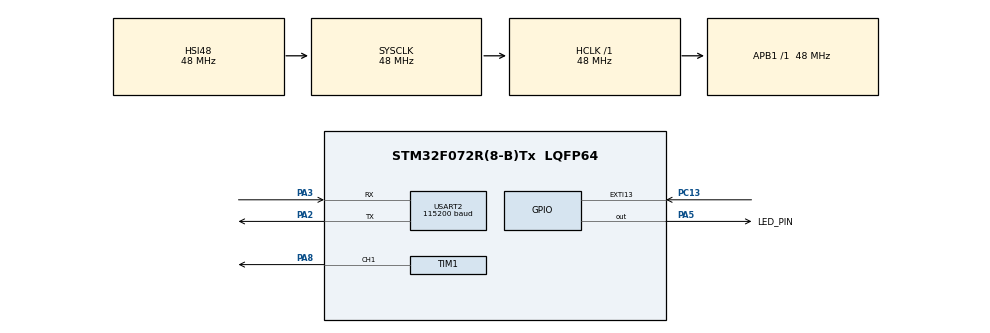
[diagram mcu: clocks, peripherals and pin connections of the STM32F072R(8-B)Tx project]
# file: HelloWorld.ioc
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Dma.Request0=USART2_RX
Dma.USART2_RX.0.Direction=DMA_PERIPH_TO_MEMORY
Dma.USART2_RX.0.Instance=DMA1_Channel6
Dma.USART2_RX.0.MemDataAlignment=DMA_MDATAALIGN_BYTE
Dma.USART2_RX.0.MemInc=DMA_MINC_ENABLE
Dma.USART2_RX.0.Mode=DMA_CIRCULAR
Dma.USART2_RX.0.PeriphDataAlignment=DMA_PDATAALIGN_BYTE
Dma.USART2_RX.0.PeriphInc=DMA_PINC_DISABLE
Dma.USART2_RX.0.Priority=DMA_PRIORITY_LOW
Mcu.Family=STM32F0
Mcu.Name=STM32F072R(8-B)Tx
Mcu.Package=LQFP64
NVIC.DMA1_Channel4_5_6_7_IRQn=true\:0\:0\:false\:true\:true\:1\:false
NVIC.EXTI4_15_IRQn=true\:0\:0\:false\:false\:true\:true
NVIC.USART2_IRQn=true\:0\:0\:false\:true\:true\:2\:true
PA11.Signal=S_TIM1_CH4
PA13.Mode=Serial_Wire
PA13.Signal=SYS_SWDIO
PA14.Mode=Serial_Wire
PA14.Signal=SYS_SWCLK
PA2.Mode=Asynchronous
PA2.Signal=USART2_TX
PA3.Mode=Asynchronous
PA3.Signal=USART2_RX
PA5.GPIO_Label=LED_PIN
PA5.Signal=GPIO_Output
PA6.Signal=S_TIM3_CH1
PA8.Signal=S_TIM1_CH1
PC13.GPIO_PuPd=GPIO_PULLUP
PC13.Signal=GPXTI13
ProjectManager.HeapSize=0x200
ProjectManager.StackSize=0x400
ProjectManager.TargetToolchain=TrueSTUDIO
RCC.AHBFreq_Value=48000000
RCC.APB1Freq_Value=48000000
RCC.APB1TimFreq_Value=48000000
RCC.HCLKFreq_Value=48000000
RCC.PLLDivider=RCC_PREDIV_DIV2
RCC.PLLSourceVirtual=RCC_PLLSOURCE_HSI48
RCC.SYSCLKFreq_VALUE=48000000
RCC.SYSCLKSource=RCC_SYSCLKSOURCE_HSI48
SH.S_TIM1_CH1.0=TIM1_CH1,Forced Output1 CH1
SH.S_TIM1_CH4.0=TIM1_CH4
SH.S_TIM3_CH1.0=TIM3_CH1
TIM1.Channel-Forced\ Output1\ CH1=TIM_CHANNEL_1
TIM1.Period=24
TIM1.Prescaler=48
TIM3.Channel-PWM\ Generation1\ No\ Output=TIM_CHANNEL_1
TIM3.Period=2000-1
TIM3.Prescaler=480
USART2.BaudRate=115200
USART2.VirtualMode-Asynchronous=VM_ASYNC
VP_TIM1_VS_ClockSourceINT.Mode=Internal
VP_TIM3_VS_no_output1.Mode=PWM Generation1 No Output
board=custom

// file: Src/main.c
/**
  ******************************************************************************
  * @file           : main.c
  * @brief          : Main program body
  ******************************************************************************
  ** This notice applies to any and all portions of this file
  * that are not between comment pairs USER CODE BEGIN and
  * USER CODE END. Other portions of this file, whether
  * inserted by the user or by software development tools
  * are owned by their respective copyright owners.
  *
  * COPYRIGHT(c) 2018 STMicroelectronics
  *
  * Redistribution and use in source and binary forms, with or without modification,
  * are permitted provided that the following conditions are met:
  *   1. Redistributions of source code must retain the above copyright notice,
  *      this list of conditions and the following disclaimer.
  *   2. Redistributions in binary form must reproduce the above copyright notice,
  *      this list of conditions and the following disclaimer in the documentation
  *      and/or other materials provided with the distribution.
  *   3. Neither the name of STMicroelectronics nor the names of its contributors
  *      may be used to endorse or promote products derived from this software
  *      without specific prior written permission.
  *
  * THIS SOFTWARE IS PROVIDED BY THE COPYRIGHT HOLDERS AND CONTRIBUTORS "AS IS"
  * AND ANY EXPRESS OR IMPLIED WARRANTIES, INCLUDING, BUT NOT LIMITED TO, THE
  * IMPLIED WARRANTIES OF MERCHANTABILITY AND FITNESS FOR A PARTICULAR PURPOSE ARE
  * DISCLAIMED. IN NO EVENT SHALL THE COPYRIGHT HOLDER OR CONTRIBUTORS BE LIABLE
  * FOR ANY DIRECT, INDIRECT, INCIDENTAL, SPECIAL, EXEMPLARY, OR CONSEQUENTIAL
  * DAMAGES (INCLUDING, BUT NOT LIMITED TO, PROCUREMENT OF SUBSTITUTE GOODS OR
  * SERVICES; LOSS OF USE, DATA, OR PROFITS; OR BUSINESS INTERRUPTION) HOWEVER
  * CAUSED AND ON ANY THEORY OF LIABILITY, WHETHER IN CONTRACT, STRICT LIABILITY,
  * OR TORT (INCLUDING NEGLIGENCE OR OTHERWISE) ARISING IN ANY WAY OUT OF THE USE
  * OF THIS SOFTWARE, EVEN IF ADVISED OF THE POSSIBILITY OF SUCH DAMAGE.
  *
  ******************************************************************************
  */
#include "main.h"
#include "stm32f0xx_hal.h"

/* USER CODE BEGIN Includes */

#include "string.h"
#include "u8g.h"

/* USER CODE END Includes */

TIM_HandleTypeDef htim1;
TIM_HandleTypeDef htim3;

UART_HandleTypeDef huart2;
DMA_HandleTypeDef hdma_usart2_rx;

/* USER CODE BEGIN PV */
/* Private variables ---------------------------------------------------------*/

/* DMA Timeout event structure
 * Note: prevCNDTR initial value must be set to maximum size of DMA buffer!
*/
DMA_Event_t dma_uart_rx = {0,0,DMA_BUF_SIZE};

uint8_t dma_rx_buf[DMA_BUF_SIZE];       /* Circular buffer for DMA */
uint8_t data[DMA_BUF_SIZE] = {'\0'};    /* Data buffer that contains newly received data */

/* USER CODE END PV */

void SystemClock_Config(void);
static void MX_GPIO_Init(void);
static void MX_DMA_Init(void);
static void MX_USART2_UART_Init(void);
static void MX_TIM3_Init(void);
static void MX_TIM1_Init(void);
static void MX_NVIC_Init(void);
void HAL_TIM_MspPostInit(TIM_HandleTypeDef *htim);

/* USER CODE BEGIN PFP */
/* Private function prototypes -----------------------------------------------*/
void user_pwm_setvalue(uint16_t value);

/* USER CODE END PFP */

int main(void)
{

  /* MCU Configuration----------------------------------------------------------*/

  /* Reset of all peripherals, Initializes the Flash interface and the Systick. */
  HAL_Init();

  /* Configure the system clock */
  SystemClock_Config();

  /* Initialize all configured peripherals */
  MX_GPIO_Init();
  MX_DMA_Init();
  MX_USART2_UART_Init();
  MX_TIM3_Init();
  MX_TIM1_Init();

  /* Initialize interrupts */
  MX_NVIC_Init();
  /* USER CODE BEGIN 2 */

  /* Start DMA */
  if(HAL_UART_Receive_DMA(&huart2, (uint8_t*)dma_rx_buf, DMA_BUF_SIZE) != HAL_OK)
  {
	  Error_Handler();
  }

  /* Disable Half Transfer Interrupt */
  __HAL_DMA_DISABLE_IT(huart2.hdmarx, DMA_IT_HT);

  /* USER CODE END 2 */

  /* Infinite loop */
  /* USER CODE BEGIN WHILE */
  char *msg = "Hello World !!!\n\r";
  HAL_UART_Transmit(&huart2, (uint8_t*)msg, strlen(msg), 0xFFFF);
  HAL_TIM_PWM_Start(&htim3, TIM_CHANNEL_1);
  HAL_TIM_PWM_Start(&htim1, TIM_CHANNEL_1);
  uint16_t pwm_value=0;
  int8_t step;
  while (1)
  {
  /* USER CODE END WHILE */

  /* USER CODE BEGIN 3 */
	  // Toggle led pin
	  HAL_GPIO_TogglePin(LED_PIN_GPIO_Port, LED_PIN_Pin);
	  // Delays for 100ms
	  HAL_Delay(100);

	  if(pwm_value == 0) step = 100;
	  if(pwm_value == 2000) step = -100;
		pwm_value += step;
		user_pwm_setvalue(pwm_value);
	  }
  /* USER CODE END 3 */

}

void SystemClock_Config(void)
{

  RCC_OscInitTypeDef RCC_OscInitStruct;
  RCC_ClkInitTypeDef RCC_ClkInitStruct;
  RCC_PeriphCLKInitTypeDef PeriphClkInit;

    /**Initializes the CPU, AHB and APB busses clocks
    */
  RCC_OscInitStruct.OscillatorType = RCC_OSCILLATORTYPE_HSI48;
  RCC_OscInitStruct.HSI48State = RCC_HSI48_ON;
  RCC_OscInitStruct.PLL.PLLState = RCC_PLL_NONE;
  if (HAL_RCC_OscConfig(&RCC_OscInitStruct) != HAL_OK)
  {
    _Error_Handler(__FILE__, __LINE__);
  }

    /**Initializes the CPU, AHB and APB busses clocks
    */
  RCC_ClkInitStruct.ClockType = RCC_CLOCKTYPE_HCLK|RCC_CLOCKTYPE_SYSCLK
                              |RCC_CLOCKTYPE_PCLK1;
  RCC_ClkInitStruct.SYSCLKSource = RCC_SYSCLKSOURCE_HSI48;
  RCC_ClkInitStruct.AHBCLKDivider = RCC_SYSCLK_DIV1;
  RCC_ClkInitStruct.APB1CLKDivider = RCC_HCLK_DIV1;

  if (HAL_RCC_ClockConfig(&RCC_ClkInitStruct, FLASH_LATENCY_1) != HAL_OK)
  {
    _Error_Handler(__FILE__, __LINE__);
  }

  PeriphClkInit.PeriphClockSelection = RCC_PERIPHCLK_USART2;
  PeriphClkInit.Usart2ClockSelection = RCC_USART2CLKSOURCE_PCLK1;
  if (HAL_RCCEx_PeriphCLKConfig(&PeriphClkInit) != HAL_OK)
  {
    _Error_Handler(__FILE__, __LINE__);
  }

    /**Configure the Systick interrupt time
    */
  HAL_SYSTICK_Config(HAL_RCC_GetHCLKFreq()/1000);

    /**Configure the Systick
    */
  HAL_SYSTICK_CLKSourceConfig(SYSTICK_CLKSOURCE_HCLK);

  /* SysTick_IRQn interrupt configuration */
  HAL_NVIC_SetPriority(SysTick_IRQn, 0, 0);
}

/**
  * @brief NVIC Configuration.
  * @retval None
  */
static void MX_NVIC_Init(void)
{
  /* DMA1_Channel4_5_6_7_IRQn interrupt configuration */
  HAL_NVIC_SetPriority(DMA1_Channel4_5_6_7_IRQn, 0, 0);
  HAL_NVIC_EnableIRQ(DMA1_Channel4_5_6_7_IRQn);
  /* USART2_IRQn interrupt configuration */
  HAL_NVIC_SetPriority(USART2_IRQn, 0, 0);
  HAL_NVIC_EnableIRQ(USART2_IRQn);
}

/* TIM1 init function */
static void MX_TIM1_Init(void)
{

  TIM_ClockConfigTypeDef sClockSourceConfig;
  TIM_MasterConfigTypeDef sMasterConfig;
  TIM_OC_InitTypeDef sConfigOC;
  TIM_BreakDeadTimeConfigTypeDef sBreakDeadTimeConfig;

  htim1.Instance = TIM1;
  htim1.Init.Prescaler = 48;
  htim1.Init.CounterMode = TIM_COUNTERMODE_UP;
  htim1.Init.Period = 24;
  htim1.Init.ClockDivision = TIM_CLOCKDIVISION_DIV1;
  htim1.Init.RepetitionCounter = 0;
  htim1.Init.AutoReloadPreload = TIM_AUTORELOAD_PRELOAD_DISABLE;
  if (HAL_TIM_Base_Init(&htim1) != HAL_OK)
  {
    _Error_Handler(__FILE__, __LINE__);
  }

  sClockSourceConfig.ClockSource = TIM_CLOCKSOURCE_INTERNAL;
  if (HAL_TIM_ConfigClockSource(&htim1, &sClockSourceConfig) != HAL_OK)
  {
    _Error_Handler(__FILE__, __LINE__);
  }

  if (HAL_TIM_OC_Init(&htim1) != HAL_OK)
  {
    _Error_Handler(__FILE__, __LINE__);
  }

  sMasterConfig.MasterOutputTrigger = TIM_TRGO_RESET;
  sMasterConfig.MasterSlaveMode = TIM_MASTERSLAVEMODE_DISABLE;
  if (HAL_TIMEx_MasterConfigSynchronization(&htim1, &sMasterConfig) != HAL_OK)
  {
    _Error_Handler(__FILE__, __LINE__);
  }

  sConfigOC.OCMode = TIM_OCMODE_FORCED_ACTIVE;
  sConfigOC.Pulse = 0;
  sConfigOC.OCPolarity = TIM_OCPOLARITY_HIGH;
  sConfigOC.OCNPolarity = TIM_OCNPOLARITY_HIGH;
  sConfigOC.OCFastMode = TIM_OCFAST_DISABLE;
  sConfigOC.OCIdleState = TIM_OCIDLESTATE_RESET;
  sConfigOC.OCNIdleState = TIM_OCNIDLESTATE_RESET;
  if (HAL_TIM_OC_ConfigChannel(&htim1, &sConfigOC, TIM_CHANNEL_1) != HAL_OK)
  {
    _Error_Handler(__FILE__, __LINE__);
  }

  sBreakDeadTimeConfig.OffStateRunMode = TIM_OSSR_DISABLE;
  sBreakDeadTimeConfig.OffStateIDLEMode = TIM_OSSI_DISABLE;
  sBreakDeadTimeConfig.LockLevel = TIM_LOCKLEVEL_OFF;
  sBreakDeadTimeConfig.DeadTime = 0;
  sBreakDeadTimeConfig.BreakState = TIM_BREAK_DISABLE;
  sBreakDeadTimeConfig.BreakPolarity = TIM_BREAKPOLARITY_HIGH;
  sBreakDeadTimeConfig.AutomaticOutput = TIM_AUTOMATICOUTPUT_DISABLE;
  if (HAL_TIMEx_ConfigBreakDeadTime(&htim1, &sBreakDeadTimeConfig) != HAL_OK)
  {
    _Error_Handler(__FILE__, __LINE__);
  }

  HAL_TIM_MspPostInit(&htim1);

}

/* TIM3 init function */
static void MX_TIM3_Init(void)
{

  TIM_MasterConfigTypeDef sMasterConfig;
  TIM_OC_InitTypeDef sConfigOC;

  htim3.Instance = TIM3;
  htim3.Init.Prescaler = 480;
  htim3.Init.CounterMode = TIM_COUNTERMODE_UP;
  htim3.Init.Period = 2000-1;
  htim3.Init.ClockDivision = TIM_CLOCKDIVISION_DIV1;
  htim3.Init.AutoReloadPreload = TIM_AUTORELOAD_PRELOAD_DISABLE;
  if (HAL_TIM_PWM_Init(&htim3) != HAL_OK)
  {
    _Error_Handler(__FILE__, __LINE__);
  }

  sMasterConfig.MasterOutputTrigger = TIM_TRGO_RESET;
  sMasterConfig.MasterSlaveMode = TIM_MASTERSLAVEMODE_DISABLE;
  if (HAL_TIMEx_MasterConfigSynchronization(&htim3, &sMasterConfig) != HAL_OK)
  {
    _Error_Handler(__FILE__, __LINE__);
  }

  sConfigOC.OCMode = TIM_OCMODE_PWM1;
  sConfigOC.Pulse = 0;
  sConfigOC.OCPolarity = TIM_OCPOLARITY_HIGH;
  sConfigOC.OCFastMode = TIM_OCFAST_DISABLE;
  if (HAL_TIM_PWM_ConfigChannel(&htim3, &sConfigOC, TIM_CHANNEL_1) != HAL_OK)
  {
    _Error_Handler(__FILE__, __LINE__);
  }

}

/* USART2 init function */
static void MX_USART2_UART_Init(void)
{

  huart2.Instance = USART2;
  huart2.Init.BaudRate = 115200;
  huart2.Init.WordLength = UART_WORDLENGTH_8B;
  huart2.Init.StopBits = UART_STOPBITS_1;
  huart2.Init.Parity = UART_PARITY_NONE;
  huart2.Init.Mode = UART_MODE_TX_RX;
  huart2.Init.HwFlowCtl = UART_HWCONTROL_NONE;
  huart2.Init.OverSampling = UART_OVERSAMPLING_16;
  huart2.Init.OneBitSampling = UART_ONE_BIT_SAMPLE_DISABLE;
  huart2.AdvancedInit.AdvFeatureInit = UART_ADVFEATURE_NO_INIT;
  if (HAL_UART_Init(&huart2) != HAL_OK)
  {
    _Error_Handler(__FILE__, __LINE__);
  }

}

static void MX_DMA_Init(void)
{
  /* DMA controller clock enable */
  __HAL_RCC_DMA1_CLK_ENABLE();

}

/** Configure pins as
        * Analog
        * Input
        * Output
        * EVENT_OUT
        * EXTI
*/
static void MX_GPIO_Init(void)
{

  GPIO_InitTypeDef GPIO_InitStruct;

  /* GPIO Ports Clock Enable */
  __HAL_RCC_GPIOC_CLK_ENABLE();
  __HAL_RCC_GPIOA_CLK_ENABLE();

  /*Configure GPIO pin Output Level */
  HAL_GPIO_WritePin(LED_PIN_GPIO_Port, LED_PIN_Pin, GPIO_PIN_RESET);

  /*Configure GPIO pin : PC13 */
  GPIO_InitStruct.Pin = GPIO_PIN_13;
  GPIO_InitStruct.Mode = GPIO_MODE_IT_RISING;
  GPIO_InitStruct.Pull = GPIO_PULLUP;
  HAL_GPIO_Init(GPIOC, &GPIO_InitStruct);

  /*Configure GPIO pin : LED_PIN_Pin */
  GPIO_InitStruct.Pin = LED_PIN_Pin;
  GPIO_InitStruct.Mode = GPIO_MODE_OUTPUT_PP;
  GPIO_InitStruct.Pull = GPIO_NOPULL;
  GPIO_InitStruct.Speed = GPIO_SPEED_FREQ_LOW;
  HAL_GPIO_Init(LED_PIN_GPIO_Port, &GPIO_InitStruct);

  /* EXTI interrupt init*/
  HAL_NVIC_SetPriority(EXTI4_15_IRQn, 0, 0);
  HAL_NVIC_EnableIRQ(EXTI4_15_IRQn);

}

/* USER CODE BEGIN 4 */

/** DMA Rx Complete AND DMA Rx Timeout function
 * Timeout event: generated after UART IDLE IT + DMA Timeout value
 * Scenarios:
 *  - Timeout event when previous event was DMA Rx Complete --> new data is from buffer beginning till (MAX-currentCNDTR)
 *  - Timeout event when previous event was Timeout event   --> buffer contains old data, new data is in the "middle": from (MAX-previousCNDTR) till (MAX-currentCNDTR)
 *  - DMA Rx Complete event when previous event was DMA Rx Complete --> entire buffer holds new data
 *  - DMA Rx Complete event when previous event was Timeout event   --> buffer entirely filled but contains old data, new data is from (MAX-previousCNDTR) till MAX
 * Remarks:
 *  - If there is no following data after DMA Rx Complete, the generated IDLE Timeout has to be ignored!
 *  - When buffer overflow occurs, the following has to be performed in order not to lose data:
 *      (1): DMA Rx Complete event occurs, process first part of new data till buffer MAX.
 *      (2): In this case, the currentCNDTR is already decreased because of overflow.
 *              However, previousCNDTR has to be set to MAX in order to signal for upcoming Timeout event that new data has to be processed from buffer beginning.
 *      (3): When many overflows occur, simply process DMA Rx Complete events (process entire DMA buffer) until Timeout event occurs.
 *      (4): When there is no more overflow, Timeout event occurs, process last part of data from buffer beginning till currentCNDTR.
*/
void HAL_UART_RxCpltCallback(UART_HandleTypeDef *huart)
{
    uint16_t i, pos, start, length;
    uint16_t currCNDTR = __HAL_DMA_GET_COUNTER(huart->hdmarx);

    /* Ignore IDLE Timeout when the received characters exactly filled up the DMA buffer and DMA Rx Complete IT is generated, but there is no new character during timeout */
    if(dma_uart_rx.flag && currCNDTR == DMA_BUF_SIZE)
    {
        dma_uart_rx.flag = 0;
        return;
    }

    /* Determine start position in DMA buffer based on previous CNDTR value */
    start = (dma_uart_rx.prevCNDTR < DMA_BUF_SIZE) ? (DMA_BUF_SIZE - dma_uart_rx.prevCNDTR) : 0;

    if(dma_uart_rx.flag)    /* Timeout event */
    {
        /* Determine new data length based on previous DMA_CNDTR value:
         *  If previous CNDTR is less than DMA buffer size: there is old data in DMA buffer (from previous timeout) that has to be ignored.
         *  If CNDTR == DMA buffer size: entire buffer content is new and has to be processed.
        */
        length = (dma_uart_rx.prevCNDTR < DMA_BUF_SIZE) ? (dma_uart_rx.prevCNDTR - currCNDTR) : (DMA_BUF_SIZE - currCNDTR);
        dma_uart_rx.prevCNDTR = currCNDTR;
        dma_uart_rx.flag = 0;
    }
    else                /* DMA Rx Complete event */
    {
        length = DMA_BUF_SIZE - start;
        dma_uart_rx.prevCNDTR = DMA_BUF_SIZE;
    }

    /* Copy and Process new data */
    for(i=0,pos=start; i<length; ++i,++pos)
    {
        data[i] = dma_rx_buf[pos];
    }

    dma_uart_rx.size = length;

    /* Send received data over USB */
    //CDC_Transmit_FS(data, length);
    __NOP();

}

/* Error callback */
void HAL_UART_ErrorCallback(UART_HandleTypeDef *huart)
{
    Error_Handler();
}

void user_pwm_setvalue(uint16_t value)
{
    TIM_OC_InitTypeDef sConfigOC;

    sConfigOC.OCMode = TIM_OCMODE_PWM1;
    sConfigOC.Pulse = value;
    sConfigOC.OCPolarity = TIM_OCPOLARITY_HIGH;
    sConfigOC.OCFastMode = TIM_OCFAST_DISABLE;
    HAL_TIM_PWM_ConfigChannel(&htim3, &sConfigOC, TIM_CHANNEL_1);
    HAL_TIM_PWM_Start(&htim3, TIM_CHANNEL_1);
}
/* USER CODE END 4 */

void _Error_Handler(char *file, int line)
{
  while(1)
  {
  }
}

/************************ (C) COPYRIGHT STMicroelectronics *****END OF FILE****/
